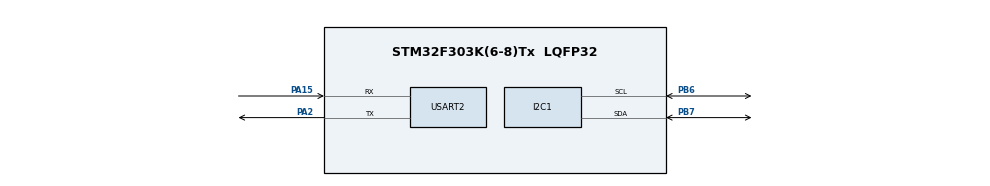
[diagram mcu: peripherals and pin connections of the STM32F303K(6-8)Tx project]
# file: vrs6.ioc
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Dma.Request0=USART2_TX
Dma.USART2_TX.0.Direction=DMA_MEMORY_TO_PERIPH
Dma.USART2_TX.0.Instance=DMA1_Channel7
Dma.USART2_TX.0.MemDataAlignment=DMA_MDATAALIGN_BYTE
Dma.USART2_TX.0.MemInc=DMA_MINC_ENABLE
Dma.USART2_TX.0.Mode=DMA_NORMAL
Dma.USART2_TX.0.PeriphDataAlignment=DMA_PDATAALIGN_BYTE
Dma.USART2_TX.0.PeriphInc=DMA_PINC_DISABLE
Dma.USART2_TX.0.Priority=DMA_PRIORITY_LOW
Mcu.Family=STM32F3
Mcu.Name=STM32F303K(6-8)Tx
Mcu.Package=LQFP32
NVIC.DMA1_Channel7_IRQn=true\:0\:0\:false\:false\:true\:false\:true\:true
NVIC.FPU_IRQn=true\:0\:0\:false\:false\:true\:true\:false\:true
NVIC.I2C1_EV_IRQn=true\:0\:0\:false\:false\:true\:true\:true\:true
NVIC.PriorityGroup=NVIC_PRIORITYGROUP_4
NVIC.USART2_IRQn=true\:0\:0\:false\:false\:true\:true\:true\:true
PA15.Mode=Asynchronous
PA15.Signal=USART2_RX
PA2.Mode=Asynchronous
PA2.Signal=USART2_TX
PB6.GPIO_Pu=GPIO_PULLUP
PB6.Mode=I2C
PB6.Signal=I2C1_SCL
PB7.GPIO_Pu=GPIO_PULLUP
PB7.Mode=I2C
PB7.Signal=I2C1_SDA
ProjectManager.HeapSize=0x200
ProjectManager.StackSize=0x400
ProjectManager.TargetToolchain=STM32CubeIDE
RCC.AHBFreq_Value=8000000
RCC.APB1Freq_Value=8000000
RCC.APB2Freq_Value=8000000
RCC.CortexFreq_Value=8000000
RCC.HSE_VALUE=8000000
RCC.HSI_VALUE=8000000
RCC.SYSCLKFreq_VALUE=8000000
USART2.VirtualMode-Asynchronous=VM_ASYNC
board=custom

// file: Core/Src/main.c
/* USER CODE BEGIN Header */
/**
  ******************************************************************************
  * @file           : main.c
  * @brief          : Main program body
  ******************************************************************************
  * @attention
  *
  * Copyright (c) 2023 STMicroelectronics.
  * All rights reserved.
  *
  * This software is licensed under terms that can be found in the LICENSE file
  * in the root directory of this software component.
  * If no LICENSE file comes with this software, it is provided AS-IS.
  *
  ******************************************************************************
  */
/* USER CODE END Header */
#include "main.h"
#include "dma.h"
#include "i2c.h"
#include "usart.h"
#include "gpio.h"

/* USER CODE BEGIN Includes */
#include "lps25hb.h"
#include "hts221.h"
#include "stdio.h"
#include "string.h"
#include <math.h>
/* USER CODE END Includes */

/* USER CODE BEGIN PD */
float reference_pressure = 0.0;

/* USER CODE END PD */

void SystemClock_Config(void);

int main(void)
{

	/* MCU Configuration--------------------------------------------------------*/

	/* Reset of all peripherals, Initializes the Flash interface and the Systick. */
	LL_APB2_GRP1_EnableClock(LL_APB2_GRP1_PERIPH_SYSCFG);
	LL_APB1_GRP1_EnableClock(LL_APB1_GRP1_PERIPH_PWR);

	/* System interrupt init*/
	NVIC_SetPriorityGrouping(NVIC_PRIORITYGROUP_4);

	/* Configure the system clock */
	SystemClock_Config();

	/* Initialize all configured peripherals */
	MX_GPIO_Init();
	MX_I2C1_Init();
	MX_DMA_Init();
	MX_USART2_UART_Init();
	/* USER CODE BEGIN 2 */

	LPS25HB_Init();
	HTS221_Init();

	char message[128];
	memset(message, 0, sizeof(message));

	/* USER CODE END 2 */

	/* Infinite loop */
	while (1)
	{

		/* USER CODE BEGIN 3 */
		memset(message, '\0', sizeof(message));

		// Pressure
		float pressure = LPS25HB_get_pressure();
		// Height
		float height = LPS25HB_get_height();

		// Temperature
		float temperature = HTS221_get_temperature();

		// Humidity
		float humidity = HTS221_get_humidity();

		// Format string
		sprintf(message, "%7.3f, %3.1f, %d, %3.2f\r", pressure, temperature, (int) humidity, height);
		USART2_PutBuffer((uint8_t*) message, strlen(message));

		// Delay
		LL_mDelay(40);

	}
	  /* USER CODE END 3 */
}

void SystemClock_Config(void)
{
	LL_FLASH_SetLatency(LL_FLASH_LATENCY_0);

	if (LL_FLASH_GetLatency() != LL_FLASH_LATENCY_0)
	{
		Error_Handler();
	}
	LL_RCC_HSI_Enable();

	/* Wait till HSI is ready */
	while (LL_RCC_HSI_IsReady() != 1)
	{

	}
	LL_RCC_HSI_SetCalibTrimming(16);
	LL_RCC_SetAHBPrescaler(LL_RCC_SYSCLK_DIV_1);
	LL_RCC_SetAPB1Prescaler(LL_RCC_APB1_DIV_1);
	LL_RCC_SetAPB2Prescaler(LL_RCC_APB1_DIV_1);
	LL_RCC_SetSysClkSource(LL_RCC_SYS_CLKSOURCE_HSI);

	/* Wait till System clock is ready */
	while (LL_RCC_GetSysClkSource() != LL_RCC_SYS_CLKSOURCE_STATUS_HSI)
	{

	}
	LL_Init1msTick(8000000);
	LL_SYSTICK_SetClkSource(LL_SYSTICK_CLKSOURCE_HCLK);
	LL_SetSystemCoreClock(8000000);
	LL_RCC_SetI2CClockSource(LL_RCC_I2C1_CLKSOURCE_HSI);
}

void Error_Handler(void)
{
	__disable_irq();
	while (1)
	{
	}
}
